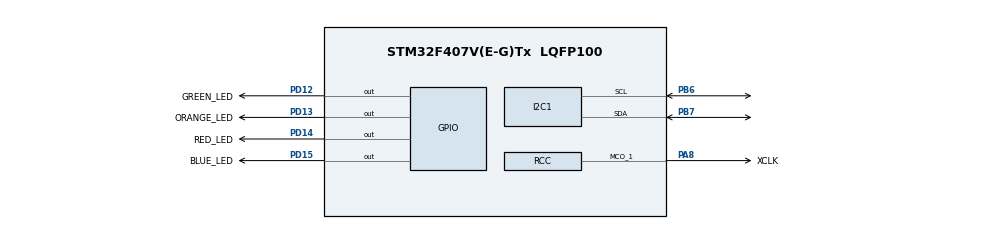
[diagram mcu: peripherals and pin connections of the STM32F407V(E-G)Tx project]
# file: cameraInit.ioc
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Mcu.Family=STM32F4
Mcu.Name=STM32F407V(E-G)Tx
Mcu.Package=LQFP100
NVIC.PriorityGroup=NVIC_PRIORITYGROUP_4
PA13.Mode=Serial-Wire
PA13.Signal=SYS_JTMS-SWDIO
PA14.Mode=Serial-Wire
PA14.Signal=SYS_JTCK-SWCLK
PA8.GPIO_Label=XCLK
PA8.Mode=Clock-out-1
PA8.Signal=RCC_MCO_1
PB6.Mode=I2C
PB6.Signal=I2C1_SCL
PB7.Mode=I2C
PB7.Signal=I2C1_SDA
PD12.GPIO_Label=GREEN_LED
PD12.Signal=GPIO_Output
PD13.GPIO_Label=ORANGE_LED
PD13.Signal=GPIO_Output
PD14.GPIO_Label=RED_LED
PD14.Signal=GPIO_Output
PD15.GPIO_Label=BLUE_LED
PD15.Signal=GPIO_Output
PH0-OSC_IN.Mode=HSE-External-Oscillator
PH0-OSC_IN.Signal=RCC_OSC_IN
PH1-OSC_OUT.Mode=HSE-External-Oscillator
PH1-OSC_OUT.Signal=RCC_OSC_OUT
ProjectManager.TargetToolchain=SW4STM32
RCC.48MHZClocksFreq_Value=48000000
RCC.AHBFreq_Value=16000000
RCC.APB1Freq_Value=16000000
RCC.APB1TimFreq_Value=16000000
RCC.APB2Freq_Value=16000000
RCC.APB2TimFreq_Value=16000000
RCC.CortexFreq_Value=16000000
RCC.HCLKFreq_Value=16000000
RCC.HSE_VALUE=8000000
RCC.HSI_VALUE=16000000
RCC.LSE_VALUE=32768
RCC.RCC_MCO1Source=RCC_MCO1SOURCE_PLLCLK
RCC.RCC_MCODiv1=RCC_MCODIV_4
RCC.SYSCLKFreq_VALUE=16000000
RCC.VCOOutputFreq_Value=192000000
board=cameraInit

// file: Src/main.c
/**
  ******************************************************************************
  * File Name          : main.c
  * Description        : Main program body
  ******************************************************************************
  *
  * COPYRIGHT(c) 2016 STMicroelectronics
  *
  * Redistribution and use in source and binary forms, with or without modification,
  * are permitted provided that the following conditions are met:
  *   1. Redistributions of source code must retain the above copyright notice,
  *      this list of conditions and the following disclaimer.
  *   2. Redistributions in binary form must reproduce the above copyright notice,
  *      this list of conditions and the following disclaimer in the documentation
  *      and/or other materials provided with the distribution.
  *   3. Neither the name of STMicroelectronics nor the names of its contributors
  *      may be used to endorse or promote products derived from this software
  *      without specific prior written permission.
  *
  * THIS SOFTWARE IS PROVIDED BY THE COPYRIGHT HOLDERS AND CONTRIBUTORS "AS IS"
  * AND ANY EXPRESS OR IMPLIED WARRANTIES, INCLUDING, BUT NOT LIMITED TO, THE
  * IMPLIED WARRANTIES OF MERCHANTABILITY AND FITNESS FOR A PARTICULAR PURPOSE ARE
  * DISCLAIMED. IN NO EVENT SHALL THE COPYRIGHT HOLDER OR CONTRIBUTORS BE LIABLE
  * FOR ANY DIRECT, INDIRECT, INCIDENTAL, SPECIAL, EXEMPLARY, OR CONSEQUENTIAL
  * DAMAGES (INCLUDING, BUT NOT LIMITED TO, PROCUREMENT OF SUBSTITUTE GOODS OR
  * SERVICES; LOSS OF USE, DATA, OR PROFITS; OR BUSINESS INTERRUPTION) HOWEVER
  * CAUSED AND ON ANY THEORY OF LIABILITY, WHETHER IN CONTRACT, STRICT LIABILITY,
  * OR TORT (INCLUDING NEGLIGENCE OR OTHERWISE) ARISING IN ANY WAY OUT OF THE USE
  * OF THIS SOFTWARE, EVEN IF ADVISED OF THE POSSIBILITY OF SUCH DAMAGE.
  *
  ******************************************************************************
  */
#include "stm32f4xx_hal.h"
#include "i2c.h"
#include "gpio.h"

/* USER CODE BEGIN PV */
/* Private variables ---------------------------------------------------------*/
#define DELAY 2
#define TIMEOUT 10000
#define OV2640_READ_ADDR 0x60
#define OV2640_WRITE_ADDR 0x61
#define OV2640_MANUFACTURER_ID_O 0x7FA2
#define OV2640_PID_O 0x26
#define OV2640_VERSION_O 0x42
#define REG_PID_O 0x0A
#define REG_VER_O 0x0B
#define MIDH_O 0x1C
#define MIDL_O 0x1D

#define VAL_SET(x, mask, rshift, lshift)  \
    ((((x) >> rshift) & mask) << lshift)
/*
 * DSP registers
 * register offset for BANK_SEL == BANK_SEL_DSP
 */
#define R_BYPASS    0x05 /* Bypass DSP */
#define   R_BYPASS_DSP_BYPAS    0x01 /* Bypass DSP, sensor out directly */
#define   R_BYPASS_USE_DSP      0x00 /* Use the internal DSP */
#define QS          0x44 /* Quantization Scale Factor */
#define CTRLI       0x50
#define   CTRLI_LP_DP           0x80
#define   CTRLI_ROUND           0x40
#define   CTRLI_V_DIV_SET(x)    VAL_SET(x, 0x3, 0, 3)
#define   CTRLI_H_DIV_SET(x)    VAL_SET(x, 0x3, 0, 0)
#define HSIZE       0x51 /* H_SIZE[7:0] (real/4) */
#define   HSIZE_SET(x)          VAL_SET(x, 0xFF, 2, 0)
#define VSIZE       0x52 /* V_SIZE[7:0] (real/4) */
#define   VSIZE_SET(x)          VAL_SET(x, 0xFF, 2, 0)
#define XOFFL       0x53 /* OFFSET_X[7:0] */
#define   XOFFL_SET(x)          VAL_SET(x, 0xFF, 0, 0)
#define YOFFL       0x54 /* OFFSET_Y[7:0] */
#define   YOFFL_SET(x)          VAL_SET(x, 0xFF, 0, 0)
#define VHYX        0x55 /* Offset and size completion */
#define   VHYX_VSIZE_SET(x)     VAL_SET(x, 0x1, (8+2), 7)
#define   VHYX_HSIZE_SET(x)     VAL_SET(x, 0x1, (8+2), 3)
#define   VHYX_YOFF_SET(x)      VAL_SET(x, 0x3, 8, 4)
#define   VHYX_XOFF_SET(x)      VAL_SET(x, 0x3, 8, 0)
#define DPRP        0x56
#define TEST        0x57 /* Horizontal size completion */
#define   TEST_HSIZE_SET(x)     VAL_SET(x, 0x1, (9+2), 7)
#define ZMOW        0x5A /* Zoom: Out Width  OUTW[7:0] (real/4) */
#define   ZMOW_OUTW_SET(x)      VAL_SET(x, 0xFF, 2, 0)
#define ZMOH        0x5B /* Zoom: Out Height OUTH[7:0] (real/4) */
#define   ZMOH_OUTH_SET(x)      VAL_SET(x, 0xFF, 2, 0)
#define ZMHH        0x5C /* Zoom: Speed and H&W completion */
#define   ZMHH_ZSPEED_SET(x)    VAL_SET(x, 0x0F, 0, 4)
#define   ZMHH_OUTH_SET(x)      VAL_SET(x, 0x1, (8+2), 2)
#define   ZMHH_OUTW_SET(x)      VAL_SET(x, 0x3, (8+2), 0)
#define BPADDR      0x7C /* SDE Indirect Register Access: Address */
#define BPDATA      0x7D /* SDE Indirect Register Access: Data */
#define CTRL2       0x86 /* DSP Module enable 2 */
#define   CTRL2_DCW_EN          0x20
#define   CTRL2_SDE_EN          0x10
#define   CTRL2_UV_ADJ_EN       0x08
#define   CTRL2_UV_AVG_EN       0x04
#define   CTRL2_CMX_EN          0x01
#define CTRL3       0x87 /* DSP Module enable 3 */
#define   CTRL3_BPC_EN          0x80
#define   CTRL3_WPC_EN          0x40
#define SIZEL       0x8C /* Image Size Completion */
#define   SIZEL_HSIZE8_11_SET(x) VAL_SET(x, 0x1, 11, 6)
#define   SIZEL_HSIZE8_SET(x)    VAL_SET(x, 0x7, 0, 3)
#define   SIZEL_VSIZE8_SET(x)    VAL_SET(x, 0x7, 0, 0)
#define HSIZE8      0xC0 /* Image Horizontal Size HSIZE[10:3] */
#define   HSIZE8_SET(x)         VAL_SET(x, 0xFF, 3, 0)
#define VSIZE8      0xC1 /* Image Vertical Size VSIZE[10:3] */
#define   VSIZE8_SET(x)         VAL_SET(x, 0xFF, 3, 0)
#define CTRL0       0xC2 /* DSP Module enable 0 */
#define   CTRL0_AEC_EN       0x80
#define   CTRL0_AEC_SEL      0x40
#define   CTRL0_STAT_SEL     0x20
#define   CTRL0_VFIRST       0x10
#define   CTRL0_YUV422       0x08
#define   CTRL0_YUV_EN       0x04
#define   CTRL0_RGB_EN       0x02
#define   CTRL0_RAW_EN       0x01
#define CTRL1       0xC3 /* DSP Module enable 1 */
#define   CTRL1_CIP          0x80
#define   CTRL1_DMY          0x40
#define   CTRL1_RAW_GMA      0x20
#define   CTRL1_DG           0x10
#define   CTRL1_AWB          0x08
#define   CTRL1_AWB_GAIN     0x04
#define   CTRL1_LENC         0x02
#define   CTRL1_PRE          0x01
#define R_DVP_SP    0xD3 /* DVP output speed control */
#define   R_DVP_SP_AUTO_MODE 0x80
#define   R_DVP_SP_DVP_MASK  0x3F /* DVP PCLK = sysclk (48)/[6:0] (YUV0);
           *          = sysclk (48)/(2*[6:0]) (RAW);*/
#define IMAGE_MODE  0xDA /* Image Output Format Select */
#define   IMAGE_MODE_Y8_DVP_EN   0x40
#define   IMAGE_MODE_JPEG_EN     0x10
#define   IMAGE_MODE_YUV422      0x00
#define   IMAGE_MODE_RAW10       0x04 /* (DVP) */
#define   IMAGE_MODE_RGB565      0x08
#define   IMAGE_MODE_HREF_VSYNC  0x02 /* HREF timing select in DVP JPEG output
               * mode (0 for HREF is same as sensor) */
#define   IMAGE_MODE_LBYTE_FIRST 0x01 /* Byte swap enable for DVP
               *    1: Low byte first UYVY (C2[4] =0)
               *        VYUY (C2[4] =1)
               *    0: High byte first YUYV (C2[4]=0)
               *        YVYU (C2[4] = 1) */
#define RESET       0xE0 /* Reset */
#define   RESET_MICROC       0x40
#define   RESET_SCCB         0x20
#define   RESET_JPEG         0x10
#define   RESET_DVP          0x04
#define   RESET_IPU          0x02
#define   RESET_CIF          0x01
#define REGED       0xED /* Register ED */
#define   REGED_CLK_OUT_DIS  0x10
#define MS_SP       0xF0 /* SCCB Master Speed */
#define SS_ID       0xF7 /* SCCB Slave ID */
#define SS_CTRL     0xF8 /* SCCB Slave Control */
#define   SS_CTRL_ADD_AUTO_INC  0x20
#define   SS_CTRL_EN            0x08
#define   SS_CTRL_DELAY_CLK     0x04
#define   SS_CTRL_ACC_EN        0x02
#define   SS_CTRL_SEN_PASS_THR  0x01
#define MC_BIST     0xF9 /* Microcontroller misc register */
#define   MC_BIST_RESET           0x80 /* Microcontroller Reset */
#define   MC_BIST_BOOT_ROM_SEL    0x40
#define   MC_BIST_12KB_SEL        0x20
#define   MC_BIST_12KB_MASK       0x30
#define   MC_BIST_512KB_SEL       0x08
#define   MC_BIST_512KB_MASK      0x0C
#define   MC_BIST_BUSY_BIT_R      0x02
#define   MC_BIST_MC_RES_ONE_SH_W 0x02
#define   MC_BIST_LAUNCH          0x01
#define BANK_SEL    0xFF /* Register Bank Select */
#define   BANK_SEL_DSP     0x00
#define   BANK_SEL_SENS    0x01

/*
 * Sensor registers
 * register offset for BANK_SEL == BANK_SEL_SENS
 */
#define GAIN        0x00 /* AGC - Gain control gain setting */
#define COM1        0x03 /* Common control 1 */
#define   COM1_1_DUMMY_FR          0x40
#define   COM1_3_DUMMY_FR          0x80
#define   COM1_7_DUMMY_FR          0xC0
#define   COM1_VWIN_LSB_UXGA       0x0F
#define   COM1_VWIN_LSB_SVGA       0x0A
#define   COM1_VWIN_LSB_CIF        0x06
#define REG04       0x04 /* Register 04 */
#define   REG04_DEF             0x20 /* Always set */
#define   REG04_HFLIP_IMG       0x80 /* Horizontal mirror image ON/OFF */
#define   REG04_VFLIP_IMG       0x40 /* Vertical flip image ON/OFF */
#define   REG04_VREF_EN         0x10
#define   REG04_HREF_EN         0x08
#define   REG04_AEC_SET(x)      VAL_SET(x, 0x3, 0, 0)
#define REG08       0x08 /* Frame Exposure One-pin Control Pre-charge Row Num */
#define COM2        0x09 /* Common control 2 */
#define   COM2_SOFT_SLEEP_MODE  0x10 /* Soft sleep mode */
             /* Output drive capability */
#define   COM2_OCAP_Nx_SET(N)   (((N) - 1) & 0x03) /* N = [1x .. 4x] */
#define PID         0x0A /* Product ID Number MSB */
#define VER         0x0B /* Product ID Number LSB */
#define COM3        0x0C /* Common control 3 */
#define   COM3_BAND_50H        0x04 /* 0 For Banding at 60H */
#define   COM3_BAND_AUTO       0x02 /* Auto Banding */
#define   COM3_SING_FR_SNAPSH  0x01 /* 0 For enable live video output after the
             * snapshot sequence*/
#define AEC         0x10 /* AEC[9:2] Exposure Value */
#define CLKRC       0x11 /* Internal clock */
#define   CLKRC_EN             0x80
#define   CLKRC_DIV_SET(x)     (((x) - 1) & 0x1F) /* CLK = XVCLK/(x) */
#define COM7        0x12 /* Common control 7 */
#define   COM7_SRST            0x80 /* Initiates system reset. All registers are
             * set to factory default values after which
             * the chip resumes normal operation */
#define   COM7_RES_UXGA        0x00 /* Resolution selectors for UXGA */
#define   COM7_RES_SVGA        0x40 /* SVGA */
#define   COM7_RES_CIF         0x20 /* CIF */
#define   COM7_ZOOM_EN         0x04 /* Enable Zoom mode */
#define   COM7_COLOR_BAR_TEST  0x02 /* Enable Color Bar Test Pattern */
#define COM8        0x13 /* Common control 8 */
#define   COM8_DEF             0xC0 /* Banding filter ON/OFF */
#define   COM8_BNDF_EN         0x20 /* Banding filter ON/OFF */
#define   COM8_AGC_EN          0x04 /* AGC Auto/Manual control selection */
#define   COM8_AEC_EN          0x01 /* Auto/Manual Exposure control */
#define COM9        0x14 /* Common control 9
        * Automatic gain ceiling - maximum AGC value [7:5]*/
#define   COM9_AGC_GAIN_2x     0x00 /* 000 :   2x */
#define   COM9_AGC_GAIN_4x     0x20 /* 001 :   4x */
#define   COM9_AGC_GAIN_8x     0x40 /* 010 :   8x */
#define   COM9_AGC_GAIN_16x    0x60 /* 011 :  16x */
#define   COM9_AGC_GAIN_32x    0x80 /* 100 :  32x */
#define   COM9_AGC_GAIN_64x    0xA0 /* 101 :  64x */
#define   COM9_AGC_GAIN_128x   0xC0 /* 110 : 128x */
#define COM10       0x15 /* Common control 10 */
#define   COM10_PCLK_HREF      0x20 /* PCLK output qualified by HREF */
#define   COM10_PCLK_RISE      0x10 /* Data is updated at the rising edge of
             * PCLK (user can latch data at the next
             * falling edge of PCLK).
             * 0 otherwise. */
#define   COM10_HREF_INV       0x08 /* Invert HREF polarity:
             * HREF negative for valid data*/
#define   COM10_VSINC_INV      0x02 /* Invert VSYNC polarity */
#define HSTART      0x17 /* Horizontal Window start MSB 8 bit */
#define HEND        0x18 /* Horizontal Window end MSB 8 bit */
#define VSTART      0x19 /* Vertical Window start MSB 8 bit */
#define VEND        0x1A /* Vertical Window end MSB 8 bit */
#define MIDH        0x1C /* Manufacturer ID byte - high */
#define MIDL        0x1D /* Manufacturer ID byte - low  */
#define AEW         0x24 /* AGC/AEC - Stable operating region (upper limit) */
#define AEB         0x25 /* AGC/AEC - Stable operating region (lower limit) */
#define VV          0x26 /* AGC/AEC Fast mode operating region */
#define   VV_HIGH_TH_SET(x)      VAL_SET(x, 0xF, 0, 4)
#define   VV_LOW_TH_SET(x)       VAL_SET(x, 0xF, 0, 0)
#define REG2A       0x2A /* Dummy pixel insert MSB */
#define FRARL       0x2B /* Dummy pixel insert LSB */
#define ADDVFL      0x2D /* LSB of insert dummy lines in Vertical direction */
#define ADDVFH      0x2E /* MSB of insert dummy lines in Vertical direction */
#define YAVG        0x2F /* Y/G Channel Average value */
#define REG32       0x32 /* Common Control 32 */
#define   REG32_PCLK_DIV_2    0x80 /* PCLK freq divided by 2 */
#define   REG32_PCLK_DIV_4    0xC0 /* PCLK freq divided by 4 */
#define ARCOM2      0x34 /* Zoom: Horizontal start point */
#define REG45       0x45 /* Register 45 */
#define FLL         0x46 /* Frame Length Adjustment LSBs */
#define FLH         0x47 /* Frame Length Adjustment MSBs */
#define COM19       0x48 /* Zoom: Vertical start point */
#define ZOOMS       0x49 /* Zoom: Vertical start point */
#define COM22       0x4B /* Flash light control */
#define COM25       0x4E /* For Banding operations */
#define BD50        0x4F /* 50Hz Banding AEC 8 LSBs */
#define BD60        0x50 /* 60Hz Banding AEC 8 LSBs */
#define REG5D       0x5D /* AVGsel[7:0],   16-zone average weight option */
#define REG5E       0x5E /* AVGsel[15:8],  16-zone average weight option */
#define REG5F       0x5F /* AVGsel[23:16], 16-zone average weight option */
#define REG60       0x60 /* AVGsel[31:24], 16-zone average weight option */
#define HISTO_LOW   0x61 /* Histogram Algorithm Low Level */
#define HISTO_HIGH  0x62 /* Histogram Algorithm High Level */

/*
 * ID
 */
//#define MANUFACTURER_ID 0x7FA2
//#define PID_OV2640  0x2642
//#define VERSION(pid, ver) ((pid << 8) | (ver & 0xFF))

/*
 * Struct
 */

typedef struct
{
  uint8_t Manufacturer_ID1;
  uint8_t Manufacturer_ID2;
  uint8_t Version;
  uint8_t PID_ID;
} OV2640_IDTypeDef;

/* Supported resolutions */
enum ov2640_width {
  W_QCIF  = 176,
  W_QVGA  = 320,
  W_CIF = 352,
  W_VGA = 640,
  W_SVGA  = 800,
  W_XGA = 1024,
  W_SXGA  = 1280,
  W_UXGA  = 1600,
};

enum ov2640_height {
  H_QCIF  = 144,
  H_QVGA  = 240,
  H_CIF = 288,
  H_VGA = 480,
  H_SVGA  = 600,
  H_XGA = 768,
  H_SXGA  = 1024,
  H_UXGA  = 1200,
};

struct ov2640_win_size {
  char        *name;
  enum ov2640_width   width;
  enum ov2640_height    height;
  const struct regval_list  *regs;
};

//struct ov2640_priv {
//  struct v4l2_subdev    subdev;
//  struct v4l2_ctrl_handler  hdl;
//  enum v4l2_mbus_pixelcode  cfmt_code;
//  struct v4l2_clk     *clk;
//  const struct ov2640_win_size  *win;
//};

/*
 * Registers settings
 */

#define ENDMARKER { 0xff, 0xff }

static const uint8_t reset_seq[][2] = {
    {BANK_SEL, BANK_SEL_SENS},
    {COM7, COM7_SRST},
    ENDMARKER,
  };

static const uint8_t ov2640_init_regs[][2] = {
  { BANK_SEL, BANK_SEL_DSP },
  { 0x2c,   0xff },
  { 0x2e,   0xdf },
  { BANK_SEL, BANK_SEL_SENS },
  { 0x3c,   0x32 },
  { CLKRC, CLKRC_DIV_SET(1) },
  { COM2, COM2_OCAP_Nx_SET(3) },
  { REG04, REG04_DEF | REG04_HREF_EN },
  { COM8,  COM8_DEF | COM8_BNDF_EN | COM8_AGC_EN | COM8_AEC_EN },
  { COM9, COM9_AGC_GAIN_8x | 0x08},
  { 0x2c,   0x0c },
  { 0x33,   0x78 },
  { 0x3a,   0x33 },
  { 0x3b,   0xfb },
  { 0x3e,   0x00 },
  { 0x43,   0x11 },
  { 0x16,   0x10 },
  { 0x39,   0x02 },
  { 0x35,   0x88 },
  { 0x22,   0x0a },
  { 0x37,   0x40 },
  { 0x23,   0x00 },
  { ARCOM2, 0xa0 },
  { 0x06,   0x02 },
  { 0x06,   0x88 },
  { 0x07,   0xc0 },
  { 0x0d,   0xb7 },
  { 0x0e,   0x01 },
  { 0x4c,   0x00 },
  { 0x4a,   0x81 },
  { 0x21,   0x99 },
  { AEW,    0x40 },
  { AEB,    0x38 },
  { VV,     VV_HIGH_TH_SET(0x08) | VV_LOW_TH_SET(0x02) },
  { 0x5c,   0x00 },
  { 0x63,   0x00 },
  { FLL,    0x22 },
  { COM3,   0x38 | COM3_BAND_AUTO },
  { REG5D,  0x55 },
  { REG5E,  0x7d },
  { REG5F,  0x7d },
  { REG60,  0x55 },
  { HISTO_LOW,   0x70 },
  { HISTO_HIGH,  0x80 },
  { 0x7c,   0x05 },
  { 0x20,   0x80 },
  { 0x28,   0x30 },
  { 0x6c,   0x00 },
  { 0x6d,   0x80 },
  { 0x6e,   0x00 },
  { 0x70,   0x02 },
  { 0x71,   0x94 },
  { 0x73,   0xc1 },
  { 0x3d,   0x34 },
  { COM7, COM7_RES_UXGA | COM7_ZOOM_EN },
  { 0x5a,   0x57 },
  { BD50,   0xbb },
  { BD60,   0x9c },
  { BANK_SEL, BANK_SEL_DSP },
  { 0xe5,   0x7f },
  { MC_BIST, MC_BIST_RESET | MC_BIST_BOOT_ROM_SEL },
  { 0x41,   0x24 },
  { RESET, RESET_JPEG | RESET_DVP },
  { 0x76,   0xff },
  { 0x33,   0xa0 },
  { 0x42,   0x20 },
  { 0x43,   0x18 },
  { 0x4c,   0x00 },
  { CTRL3, CTRL3_BPC_EN | CTRL3_WPC_EN | 0x10 },
  { 0x88,   0x3f },
  { 0xd7,   0x03 },
  { 0xd9,   0x10 },
  { R_DVP_SP , R_DVP_SP_AUTO_MODE | 0x2 },
  { 0xc8,   0x08 },
  { 0xc9,   0x80 },
  { BPADDR, 0x00 },
  { BPDATA, 0x00 },
  { BPADDR, 0x03 },
  { BPDATA, 0x48 },
  { BPDATA, 0x48 },
  { BPADDR, 0x08 },
  { BPDATA, 0x20 },
  { BPDATA, 0x10 },
  { BPDATA, 0x0e },
  { 0x90,   0x00 },
  { 0x91,   0x0e },
  { 0x91,   0x1a },
  { 0x91,   0x31 },
  { 0x91,   0x5a },
  { 0x91,   0x69 },
  { 0x91,   0x75 },
  { 0x91,   0x7e },
  { 0x91,   0x88 },
  { 0x91,   0x8f },
  { 0x91,   0x96 },
  { 0x91,   0xa3 },
  { 0x91,   0xaf },
  { 0x91,   0xc4 },
  { 0x91,   0xd7 },
  { 0x91,   0xe8 },
  { 0x91,   0x20 },
  { 0x92,   0x00 },
  { 0x93,   0x06 },
  { 0x93,   0xe3 },
  { 0x93,   0x03 },
  { 0x93,   0x03 },
  { 0x93,   0x00 },
  { 0x93,   0x02 },
  { 0x93,   0x00 },
  { 0x93,   0x00 },
  { 0x93,   0x00 },
  { 0x93,   0x00 },
  { 0x93,   0x00 },
  { 0x93,   0x00 },
  { 0x93,   0x00 },
  { 0x96,   0x00 },
  { 0x97,   0x08 },
  { 0x97,   0x19 },
  { 0x97,   0x02 },
  { 0x97,   0x0c },
  { 0x97,   0x24 },
  { 0x97,   0x30 },
  { 0x97,   0x28 },
  { 0x97,   0x26 },
  { 0x97,   0x02 },
  { 0x97,   0x98 },
  { 0x97,   0x80 },
  { 0x97,   0x00 },
  { 0x97,   0x00 },
  { 0xa4,   0x00 },
  { 0xa8,   0x00 },
  { 0xc5,   0x11 },
  { 0xc6,   0x51 },
  { 0xbf,   0x80 },
  { 0xc7,   0x10 },
  { 0xb6,   0x66 },
  { 0xb8,   0xA5 },
  { 0xb7,   0x64 },
  { 0xb9,   0x7C },
  { 0xb3,   0xaf },
  { 0xb4,   0x97 },
  { 0xb5,   0xFF },
  { 0xb0,   0xC5 },
  { 0xb1,   0x94 },
  { 0xb2,   0x0f },
  { 0xc4,   0x5c },
  { 0xa6,   0x00 },
  { 0xa7,   0x20 },
  { 0xa7,   0xd8 },
  { 0xa7,   0x1b },
  { 0xa7,   0x31 },
  { 0xa7,   0x00 },
  { 0xa7,   0x18 },
  { 0xa7,   0x20 },
  { 0xa7,   0xd8 },
  { 0xa7,   0x19 },
  { 0xa7,   0x31 },
  { 0xa7,   0x00 },
  { 0xa7,   0x18 },
  { 0xa7,   0x20 },
  { 0xa7,   0xd8 },
  { 0xa7,   0x19 },
  { 0xa7,   0x31 },
  { 0xa7,   0x00 },
  { 0xa7,   0x18 },
  { 0x7f,   0x00 },
  { 0xe5,   0x1f },
  { 0xe1,   0x77 },
  { 0xdd,   0x7f },
  { CTRL0,  CTRL0_YUV422 | CTRL0_YUV_EN | CTRL0_RGB_EN },
  ENDMARKER,
};

static const uint8_t default_regs[][2] =
{
  {0xff, 0x0},
  {0x2c, 0xff},
  {0x2e, 0xdf},
  {0xff, 0x1},
  {0x3c, 0x32},
  {0x11, 0x0},
  {0x9, 0x2},
  {0x4, 0xa8},
  {0x13, 0xe5},
  {0x14, 0x48},
  {0x2c, 0xc},
  {0x33, 0x78},
  {0x3a, 0x33},
  {0x3b, 0xfb},
  {0x3e, 0x0},
  {0x43, 0x11},
  {0x16, 0x10},
  {0x39, 0x2},
  {0x35, 0x88},

  {0x22, 0xa},
  {0x37, 0x40},
  {0x23, 0x0},
  {0x34, 0xa0},
  {0x6, 0x2},
  {0x6, 0x88},
  {0x7, 0xc0},
  {0xd, 0xb7},
  {0xe, 0x1},
  {0x4c, 0x0},
  {0x4a, 0x81},
  {0x21, 0x99},
  {0x24, 0x40},
  {0x25, 0x38},
  {0x26, 0x82},
  {0x5c, 0x0},
  {0x63, 0x0},
  {0x46, 0x22},
  {0xc, 0x3a},
  {0x5d, 0x55},
  {0x5e, 0x7d},
  {0x5f, 0x7d},
  {0x60, 0x55},
  {0x61, 0x70},
  {0x62, 0x80},
  {0x7c, 0x5},
  {0x20, 0x80},
  {0x28, 0x30},
  {0x6c, 0x0},
  {0x6d, 0x80},
  {0x6e, 0x0},
  {0x70, 0x2},
  {0x71, 0x94},
  {0x73, 0xc1},
  {0x3d, 0x34},
  {0x12, 0x4},
  {0x5a, 0x57},
  {0x4f, 0xbb},
  {0x50, 0x9c},
  {0xff, 0x0},
  {0xe5, 0x7f},
  {0xf9, 0xc0},
  {0x41, 0x24},
  {0xe0, 0x14},
  {0x76, 0xff},
  {0x33, 0xa0},
  {0x42, 0x20},
  {0x43, 0x18},
  {0x4c, 0x0},
  {0x87, 0xd0},
  {0x88, 0x3f},
  {0xd7, 0x3},
  {0xd9, 0x10},
  {0xd3, 0x82},
  {0xc8, 0x8},
  {0xc9, 0x80},
  {0x7c, 0x0},
  {0x7d, 0x0},
  {0x7c, 0x3},
  {0x7d, 0x48},
  {0x7d, 0x48},
  {0x7c, 0x8},
  {0x7d, 0x20},
  {0x7d, 0x10},
  {0x7d, 0xe},
  {0x90, 0x0},
  {0x91, 0xe},
  {0x91, 0x1a},
  {0x91, 0x31},
  {0x91, 0x5a},
  {0x91, 0x69},
  {0x91, 0x75},
  {0x91, 0x7e},
  {0x91, 0x88},
  {0x91, 0x8f},
  {0x91, 0x96},
  {0x91, 0xa3},
  {0x91, 0xaf},
  {0x91, 0xc4},
  {0x91, 0xd7},
  {0x91, 0xe8},
  {0x91, 0x20},
  {0x92, 0x0},

  {0x93, 0x6},
  {0x93, 0xe3},
  {0x93, 0x3},
  {0x93, 0x3},
  {0x93, 0x0},
  {0x93, 0x2},
  {0x93, 0x0},
  {0x93, 0x0},
  {0x93, 0x0},
  {0x93, 0x0},
  {0x93, 0x0},
  {0x93, 0x0},
  {0x93, 0x0},
  {0x96, 0x0},
  {0x97, 0x8},
  {0x97, 0x19},
  {0x97, 0x2},
  {0x97, 0xc},
  {0x97, 0x24},
  {0x97, 0x30},
  {0x97, 0x28},
  {0x97, 0x26},
  {0x97, 0x2},
  {0x97, 0x98},
  {0x97, 0x80},
  {0x97, 0x0},
  {0x97, 0x0},
  {0xa4, 0x0},
  {0xa8, 0x0},
  {0xc5, 0x11},
  {0xc6, 0x51},
  {0xbf, 0x80},
  {0xc7, 0x10},
  {0xb6, 0x66},
  {0xb8, 0xa5},
  {0xb7, 0x64},
  {0xb9, 0x7c},
  {0xb3, 0xaf},
  {0xb4, 0x97},
  {0xb5, 0xff},
  {0xb0, 0xc5},
  {0xb1, 0x94},
  {0xb2, 0xf},
  {0xc4, 0x5c},
  {0xa6, 0x0},
  {0xa7, 0x20},
  {0xa7, 0xd8},
  {0xa7, 0x1b},
  {0xa7, 0x31},
  {0xa7, 0x0},
  {0xa7, 0x18},
  {0xa7, 0x20},
  {0xa7, 0xd8},
  {0xa7, 0x19},
  {0xa7, 0x31},
  {0xa7, 0x0},
  {0xa7, 0x18},
  {0xa7, 0x20},
  {0xa7, 0xd8},
  {0xa7, 0x19},
  {0xa7, 0x31},
  {0xa7, 0x0},
  {0xa7, 0x18},
  {0x7f, 0x0},
  {0xe5, 0x1f},
  {0xe1, 0x77},
  {0xdd, 0x7f},
  {0xc2, 0xe},

  {0xff, 0x0},
  {0xe0, 0x4},
  {0xc0, 0xc8},
  {0xc1, 0x96},
  {0x86, 0x3d},
  {0x51, 0x90},
  {0x52, 0x2c},
  {0x53, 0x0},
  {0x54, 0x0},
  {0x55, 0x88},
  {0x57, 0x0},

  {0x50, 0x92},
  {0x5a, 0x50},
  {0x5b, 0x3c},
  {0x5c, 0x0},
  {0xd3, 0x4},
  {0xe0, 0x0},

  {0xff, 0x0},
  {0x5, 0x0},

  {0xda, 0x8},
  {0xd7, 0x3},
  {0xe0, 0x0},

  {0x5, 0x0},

  {0xff,0xff}
};

static const uint8_t rgb565_regs[][2] =
{
  {0xff, 0x00},
  {0xe0, 0x04},
  {0xda, 0x08},
  {0xd7, 0x03},
  {0xe1, 0x77},
  {0xe0, 0x00},
  {0x00, 0x00}
};

static const uint8_t svga_regs[][2] = {
  { 0xFF, 0x01 },
  /* DSP input image resoultion and window size control */
  { 0x12, 0x40 },
  { 0x03, 0x0F }, /* UXGA=0x0F, SVGA=0x0A, CIF=0x06 */
  { 0x32, 0x09 }, /* UXGA=0x36, SVGA/CIF=0x09 */

  { 0x17, 0x11 }, /* UXGA=0x11, SVGA/CIF=0x11 */
  { 0x18, 0x43 }, /* UXGA=0x75, SVGA/CIF=0x43 */

  { 0x19, 0x00 }, /* UXGA=0x01, SVGA/CIF=0x00 */
  { 0x1A, 0x4b }, /* UXGA=0x97, SVGA/CIF=0x4b */
  { 0x3d, 0x38 }, /* UXGA=0x34, SVGA/CIF=0x38 */

  { 0x35, 0xda },
  { 0x22, 0x1a },
  { 0x37, 0xc3 },
  { 0x34, 0xc0 },
  { 0x06, 0x88 },
  { 0x0d, 0x87 },
  { 0x0e, 0x41 },
  { 0x42, 0x03 },

          /* Set DSP input image size and offset.
             The sensor output image can be scaled with OUTW/OUTH */
  { 0xFF, 0x00 },
  { 0x05, 0x01 },

  { 0xE0, 0x04 },
  { 0xC0, (800 >> 3) }, /* Image Horizontal Size HSIZE[10:3] */
  { 0xC1, (600 >> 3) }, /* Image Vertiacl Size VSIZE[10:3] */

          /* {HSIZE[11], HSIZE[2:0], VSIZE[2:0]} */
  { 0x8C, ((800 >> 6) & 0x40) | ((800 & 0x7) << 3) | (600 & 0x7) },

  { 0x53, 0x00 }, /* OFFSET_X[7:0] */
  { 0x54, 0x00 }, /* OFFSET_Y[7:0] */
  { 0x51, ((800 >> 2) & 0xFF) }, /* H_SIZE[7:0]= HSIZE/4 */
  { 0x52, ((600 >> 2) & 0xFF) }, /* V_SIZE[7:0]= VSIZE/4 */

          /* V_SIZE[8]/OFFSET_Y[10:8]/H_SIZE[8]/OFFSET_X[10:8] */
  { 0x55, ((600 >> 3) & 0x80) | ((800 >> 7) & 0x08) },
  { 0x57, (800 >> 4) & 0x80 }, /* H_SIZE[9] */

  { 0x86, 0x20 | 0x10 | 0x04 | 0x01 | 0x08 },

          /* H_DIVIDER/V_DIVIDER */
  { 0x50, 0x80 | 0x00 },
  /* DVP prescalar */
  { 0xD3, 0x80 },

  { 0x05, 0x00 },
  { 0xE0, 0x00 },
  { 0, 0 },
};

/*
 * Register settings for window size
 * The preamble, setup the internal DSP to input an UXGA (1600x1200) image.
 * Then the different zooming configurations will setup the output image size.
 */
static const uint8_t ov2640_size_change_preamble_regs[][2] = {
  { BANK_SEL, BANK_SEL_DSP },
  { RESET, RESET_DVP },
  { HSIZE8, HSIZE8_SET(W_UXGA) },
  { VSIZE8, VSIZE8_SET(H_UXGA) },
  { CTRL2, CTRL2_DCW_EN | CTRL2_SDE_EN |
     CTRL2_UV_AVG_EN | CTRL2_CMX_EN | CTRL2_UV_ADJ_EN },
  { HSIZE, HSIZE_SET(W_UXGA) },
  { VSIZE, VSIZE_SET(H_UXGA) },
  { XOFFL, XOFFL_SET(0) },
  { YOFFL, YOFFL_SET(0) },
  { VHYX, VHYX_HSIZE_SET(W_UXGA) | VHYX_VSIZE_SET(H_UXGA) |
    VHYX_XOFF_SET(0) | VHYX_YOFF_SET(0)},
  { TEST, TEST_HSIZE_SET(W_UXGA) },
  ENDMARKER,
};

#define PER_SIZE_REG_SEQ(x, y, v_div, h_div, pclk_div)  \
  { CTRLI, CTRLI_LP_DP | CTRLI_V_DIV_SET(v_div) | \
     CTRLI_H_DIV_SET(h_div)},   \
  { ZMOW, ZMOW_OUTW_SET(x) },     \
  { ZMOH, ZMOH_OUTH_SET(y) },     \
  { ZMHH, ZMHH_OUTW_SET(x) | ZMHH_OUTH_SET(y) },  \
  { R_DVP_SP, pclk_div },       \
  { RESET, 0x00}

static const uint8_t ov2640_qcif_regs[][2] = {
  PER_SIZE_REG_SEQ(W_QCIF, H_QCIF, 3, 3, 4),
  ENDMARKER,
};

static const uint8_t ov2640_qvga_regs[][2] = {
  PER_SIZE_REG_SEQ(W_QVGA, H_QVGA, 2, 2, 4),
  ENDMARKER,
};

static const uint8_t ov2640_cif_regs[][2] = {
  PER_SIZE_REG_SEQ(W_CIF, H_CIF, 2, 2, 8),
  ENDMARKER,
};

static const uint8_t ov2640_vga_regs[][2] = {
  PER_SIZE_REG_SEQ(W_VGA, H_VGA, 0, 0, 2),
  ENDMARKER,
};

static const uint8_t ov2640_svga_regs[][2] = {
  PER_SIZE_REG_SEQ(W_SVGA, H_SVGA, 1, 1, 2),
  ENDMARKER,
};

static const uint8_t ov2640_xga_regs[][2] = {
  PER_SIZE_REG_SEQ(W_XGA, H_XGA, 0, 0, 2),
  { CTRLI,    0x00},
  ENDMARKER,
};

static const uint8_t ov2640_sxga_regs[][2] = {
  PER_SIZE_REG_SEQ(W_SXGA, H_SXGA, 0, 0, 2),
  { CTRLI,    0x00},
  { R_DVP_SP, 2 | R_DVP_SP_AUTO_MODE },
  ENDMARKER,
};

static const uint8_t ov2640_uxga_regs[][2] = {
  PER_SIZE_REG_SEQ(W_UXGA, H_UXGA, 0, 0, 0),
  { CTRLI,    0x00},
  { R_DVP_SP, 0 | R_DVP_SP_AUTO_MODE },
  ENDMARKER,
};

#define OV2640_SIZE(n, w, h, r) \
  {.name = n, .width = w , .height = h, .regs = r }

//static const uint8_t ov2640_supported_win_sizes[][4] = {
//  OV2640_SIZE("QCIF", W_QCIF, H_QCIF, ov2640_qcif_regs),
//  OV2640_SIZE("QVGA", W_QVGA, H_QVGA, ov2640_qvga_regs),
//  OV2640_SIZE("CIF", W_CIF, H_CIF, ov2640_cif_regs),
//  OV2640_SIZE("VGA", W_VGA, H_VGA, ov2640_vga_regs),
//  OV2640_SIZE("SVGA", W_SVGA, H_SVGA, ov2640_svga_regs),
//  OV2640_SIZE("XGA", W_XGA, H_XGA, ov2640_xga_regs),
//  OV2640_SIZE("SXGA", W_SXGA, H_SXGA, ov2640_sxga_regs),
//  OV2640_SIZE("UXGA", W_UXGA, H_UXGA, ov2640_uxga_regs),
//};

/*
 * Register settings for pixel formats
 */
static const uint8_t ov2640_format_change_preamble_regs[][2] = {
  { BANK_SEL, BANK_SEL_DSP },
  { R_BYPASS, R_BYPASS_USE_DSP },
};

static const uint8_t ov2640_yuyv_regs[][2] = {
  { IMAGE_MODE, IMAGE_MODE_YUV422 },
  { 0xd7, 0x03 },
  { 0x33, 0xa0 },
  { 0xe5, 0x1f },
  { 0xe1, 0x67 },
  { RESET,  0x00 },
  { R_BYPASS, R_BYPASS_USE_DSP },
};

static const uint8_t ov2640_uyvy_regs[][2] = {
  { IMAGE_MODE, IMAGE_MODE_LBYTE_FIRST | IMAGE_MODE_YUV422 },
  { 0xd7, 0x01 },
  { 0x33, 0xa0 },
  { 0xe1, 0x67 },
  { RESET,  0x00 },
  { R_BYPASS, R_BYPASS_USE_DSP },
  ENDMARKER,
};

static const uint8_t ov2640_rgb565_be_regs[][2] = {
  { IMAGE_MODE, IMAGE_MODE_RGB565 },
  { 0xd7, 0x03 },
  { RESET,  0x00 },
  { R_BYPASS, R_BYPASS_USE_DSP },
  ENDMARKER,
};

static const uint8_t ov2640_rgb565_le_regs[][2] = {
  { IMAGE_MODE, IMAGE_MODE_LBYTE_FIRST | IMAGE_MODE_RGB565 },
  { 0xd7, 0x03 },
  { RESET,  0x00 },
  { R_BYPASS, R_BYPASS_USE_DSP },
  ENDMARKER,
};

//static enum v4l2_mbus_pixelcode ov2640_codes[][2] = {
//  V4L2_MBUS_FMT_YUYV8_2X8,
//  V4L2_MBUS_FMT_UYVY8_2X8,
//  V4L2_MBUS_FMT_RGB565_2X8_BE,
//  V4L2_MBUS_FMT_RGB565_2X8_LE,
//};

/* USER CODE END PV */

void SystemClock_Config(void);

/* USER CODE BEGIN PFP */
/* Private function prototypes -----------------------------------------------*/
uint8_t SCCB_Write(uint8_t addr, uint8_t data);
uint8_t SCCB_Read(uint8_t addr);
void OV2640_ReadID(OV2640_IDTypeDef* OV2640ID);
int32_t OV2640_CheckID(OV2640_IDTypeDef* OV2640ID);
void OV2640_SetCameraRegisters(void);
int32_t OV2640_Init(void);
/* USER CODE END PFP */

int main(void)
{

  /* MCU Configuration----------------------------------------------------------*/

  /* Reset of all peripherals, Initializes the Flash interface and the Systick. */
  HAL_Init();

  /* Configure the system clock */
  SystemClock_Config();

  /* Initialize all configured peripherals */
  MX_GPIO_Init();
  MX_I2C1_Init();

  /* USER CODE BEGIN 2 */
  OV2640_Init();
  /* USER CODE END 2 */

  /* Infinite loop */
  while (1)
  {
	  HAL_GPIO_TogglePin(GREEN_LED_GPIO_Port, GREEN_LED_Pin);
	  HAL_Delay(500);
  }

}

/** System Clock Configuration
*/
void SystemClock_Config(void)
{

  RCC_OscInitTypeDef RCC_OscInitStruct;

  __PWR_CLK_ENABLE();

  __HAL_PWR_VOLTAGESCALING_CONFIG(PWR_REGULATOR_VOLTAGE_SCALE1);

  RCC_OscInitStruct.OscillatorType = RCC_OSCILLATORTYPE_HSI;
  RCC_OscInitStruct.HSIState = RCC_HSI_ON;
  RCC_OscInitStruct.HSICalibrationValue = 16;
  RCC_OscInitStruct.PLL.PLLState = RCC_PLL_ON;
  RCC_OscInitStruct.PLL.PLLSource = RCC_PLLSOURCE_HSI;
  RCC_OscInitStruct.PLL.PLLM = 16;
  RCC_OscInitStruct.PLL.PLLN = 192;
  RCC_OscInitStruct.PLL.PLLP = RCC_PLLP_DIV2;
  RCC_OscInitStruct.PLL.PLLQ = 4;
  HAL_RCC_OscConfig(&RCC_OscInitStruct);

  HAL_RCC_MCOConfig(RCC_MCO1, RCC_MCO1SOURCE_PLLCLK, RCC_MCODIV_4);

  HAL_SYSTICK_Config(HAL_RCC_GetHCLKFreq()/1000);

  HAL_SYSTICK_CLKSourceConfig(SYSTICK_CLKSOURCE_HCLK);

  /* SysTick_IRQn interrupt configuration */
  HAL_NVIC_SetPriority(SysTick_IRQn, 0, 0);
}

/* USER CODE BEGIN 4 */
uint8_t SCCB_Write(uint8_t addr, uint8_t data)
{
  uint8_t ret = 0;
  uint8_t buf[] = {addr, data};

  __disable_irq();
  if(HAL_I2C_Master_Transmit(&hi2c1, OV2640_WRITE_ADDR, buf, 2, TIMEOUT) != HAL_OK)
  {
    ret = 0xFF;
  }
  __enable_irq();
  return ret;
}

uint8_t SCCB_Read(uint8_t addr)
{
  uint8_t data = 0;
  __disable_irq();
  if(HAL_I2C_Master_Transmit(&hi2c1, OV2640_READ_ADDR, &addr, 1, TIMEOUT) != HAL_OK)
  {
    data = 0xFF;
    goto error_w;
  }
  if(HAL_I2C_Master_Receive(&hi2c1, OV2640_READ_ADDR, &data, 1, TIMEOUT) != HAL_OK)
  {
    data = 0xFF;
  }
  error_w:
    __enable_irq();
    return data;
}

void OV2640_ReadID(OV2640_IDTypeDef* OV2640ID)
{
  SCCB_Write(0xFF, 0x01);
  OV2640ID->Manufacturer_ID1 = SCCB_Read(MIDH_O);
  OV2640ID->Manufacturer_ID2 = SCCB_Read(MIDL_O);
  OV2640ID->Version = SCCB_Read(REG_VER_O);
  OV2640ID->PID_ID = SCCB_Read(REG_PID_O);
}

int32_t OV2640_CheckID(OV2640_IDTypeDef* OV2640ID)
{
  if(((OV2640ID->Manufacturer_ID1 << 8) | (OV2640ID->Manufacturer_ID2)) != OV2640_MANUFACTURER_ID_O)
  {
    return -1;
  }
  if(OV2640ID->PID_ID != OV2640_PID_O)
  {
    return -1;
  }
  if(OV2640ID->Version != OV2640_VERSION_O)
  {
    return -1;
  }
  return 0;
}

void OV2640_SetCameraRegisters(void)
{
  uint32_t i = 0;
  const uint8_t(*regs)[2];
  uint8_t reg;

  /* Reset all the registers */
  i = 0;
  regs = reset_seq;
  while(regs[i][0]) {
	  SCCB_Write(regs[i][0], regs[i][1]);
	  HAL_Delay(DELAY);
	  i++;
  }

  /* Write initial registers */
  i = 0;
  //regs = default_regs;
  regs = ov2640_init_regs;
  while(regs[i][0])
  {
    SCCB_Write(regs[i][0], regs[i][1]);
    HAL_Delay(DELAY);
    i++;
  }

  /* Change image size */
  i = 0;
  //regs = rgb565_regs;
  regs = ov2640_size_change_preamble_regs;
  while(regs[i][0]) {
	  SCCB_Write(regs[i][0], regs[i][1]);
	  HAL_Delay(DELAY);
	  i++;
  }

  i = 0;
  //regs = svga_regs;
  regs = ov2640_qvga_regs;
  while(regs[i][0])
  {
    SCCB_Write(regs[i][0], regs[i][1]);
    HAL_Delay(DELAY);
    i++;
  }

  /* change image format */
  i = 0;
  regs = ov2640_format_change_preamble_regs;
  while(regs[i][0]) {
  	  SCCB_Write(regs[i][0], regs[i][1]);
  	  HAL_Delay(DELAY);
  	  i++;
    }

  i = 0;
  regs = ov2640_rgb565_le_regs;
  while(regs[i][0]) {
	  SCCB_Write(regs[i][0], regs[i][1]);
	  HAL_Delay(DELAY);
	  i++;
  }

//  SCCB_Write(0xff, 0x01);
//  reg = SCCB_Read(0x12);
//  reg |= 0x02; //color bar
//  SCCB_Write(0x12, 0x02);
}

int32_t OV2640_Init(void)
{
  OV2640_IDTypeDef OV2640ID;

  //DCMI_PWRDN_HIGH();
  //HAL_Delay(10);

  //DCMI_PWRDN_LOW();
  //HAL_Delay(100);

  //DCMI_RST_LOW();
  //HAL_Delay(10);

  //DCMI_RST_HIGH();
  //HAL_Delay(10);

  OV2640_ReadID(&OV2640ID);

  if(OV2640_CheckID(&OV2640ID) != 0)
  {
    //printf("Camera OV2640 not found.\n\r");
    while(1) {
    	HAL_GPIO_TogglePin(RED_LED_GPIO_Port, RED_LED_Pin);
    	HAL_Delay(500);
    }
	  return -1;
  }

  OV2640_SetCameraRegisters();

  return 0;
}
/* USER CODE END 4 */

/************************ (C) COPYRIGHT STMicroelectronics *****END OF FILE****/
